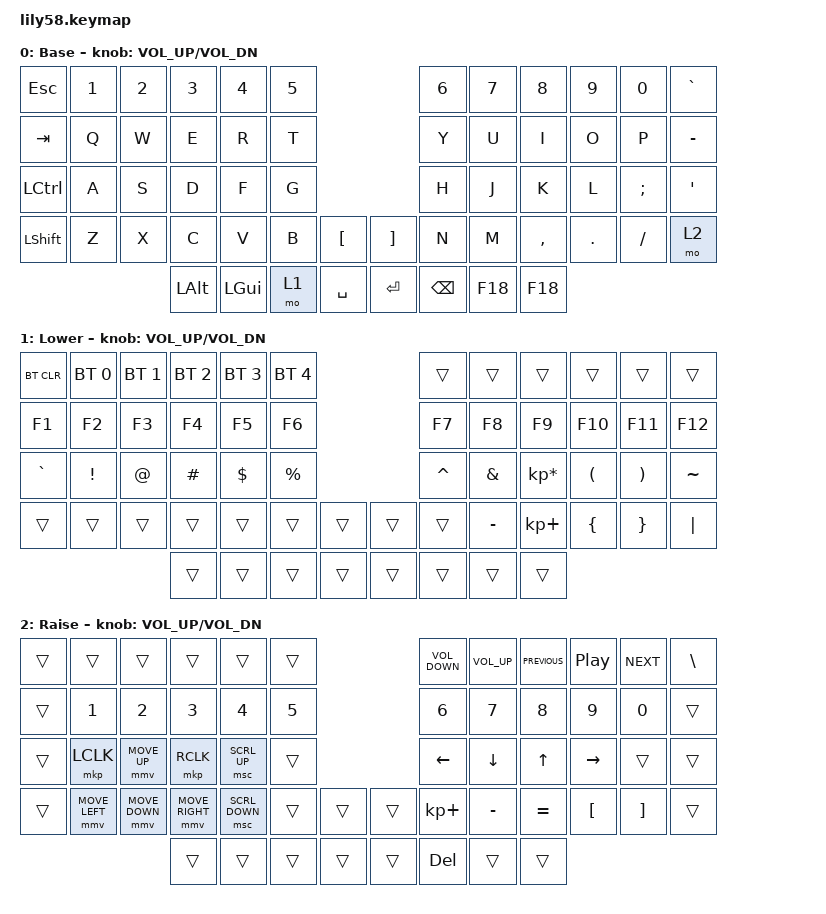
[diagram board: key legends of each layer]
/*
 * Copyright (c) 2020 The ZMK Contributors
 *
 * SPDX-License-Identifier: MIT
 */
#define ZMK_POINTING_DEFAULT_MOVE_VAL 1800
#define ZMK_POINTING_DEFAULT_SCRL_VAL 30

#include <behaviors.dtsi>
#include <dt-bindings/zmk/bt.h>
#include <dt-bindings/zmk/keys.h>
#include <dt-bindings/zmk/pointing.h>

/ {
    keymap {
        compatible = "zmk,keymap";

        default_layer {
            // ------------------------------------------------------------------------------------------------------------
            // |  ESC  |  1  |  2  |  3   |  4   |  5   |                   |  6   |  7    |  8    |  9   |   0   |   `   |
            // |  TAB  |  Q  |  W  |  E   |  R   |  T   |                   |  Y   |  U    |  I    |  O   |   P   |   -   |
            // |  CTRL |  A  |  S  |  D   |  F   |  G   |                   |  H   |  J    |  K    |  L   |   ;   |   '   |
            // | SHIFT |  Z  |  X  |  C   |  V   |  B   |   "["  |  |  "]"  |  N   |  M    |  ,    |  .   |   /   | SHIFT |
            //                     | ALT  | GUI  | LOWER|  SPACE |  | ENTER | RAISE| BSPC  | GUI   |

            display-name = "Base";
            bindings = <
&kp ESC    &kp N1  &kp N2  &kp N3    &kp N4    &kp N5                         &kp N6         &kp N7   &kp N8     &kp N9   &kp N0    &kp GRAVE
&kp TAB    &kp Q   &kp W   &kp E     &kp R     &kp T                          &kp Y          &kp U    &kp I      &kp O    &kp P     &kp MINUS
&kp LCTRL  &kp A   &kp S   &kp D     &kp F     &kp G                          &kp H          &kp J    &kp K      &kp L    &kp SEMI  &kp SQT
&kp LSHFT  &kp Z   &kp X   &kp C     &kp V     &kp B   &kp LBKT     &kp RBKT  &kp N          &kp M    &kp COMMA  &kp DOT  &kp FSLH  &mo 2
                           &kp LALT  &kp LGUI  &mo 1   &kp SPACE    &kp RET   &kp BACKSPACE  &kp F18  &kp F18
            >;

            sensor-bindings = <&inc_dec_kp C_VOL_UP C_VOL_DN>;
        };

        lower_layer {
            // ------------------------------------------------------------------------------------------------------------
            // | BTCLR | BT1 | BT2 |  BT3 |  BT4 |  BT5 |                   |      |       |       |      |       |       |
            // |  F1   |  F2 |  F3 |  F4  |  F5  |  F6  |                   |  F7  |  F8   |  F9   |  F10 |  F11  |  F12  |
            // |   `   |  !  |  @  |  #   |  $   |  %   |                   |  ^   |  &    |  *    |  (   |   )   |   ~   |
            // |       |     |     |      |      |      |        |  |       |      |  _    |  +    |  {   |   }   |  "|"  |
            //                     |      |      |      |        |  |       |      |       |       |

            display-name = "Lower";
            bindings = <
&bt BT_CLR  &bt BT_SEL 0  &bt BT_SEL 1  &bt BT_SEL 2  &bt BT_SEL 3  &bt BT_SEL 4                    &trans     &trans     &trans           &trans    &trans    &trans
&kp F1      &kp F2        &kp F3        &kp F4        &kp F5        &kp F6                          &kp F7     &kp F8     &kp F9           &kp F10   &kp F11   &kp F12
&kp GRAVE   &kp EXCL      &kp AT        &kp HASH      &kp DOLLAR    &kp PRCNT                       &kp CARET  &kp AMPS   &kp KP_MULTIPLY  &kp LPAR  &kp RPAR  &kp TILDE
&trans      &trans        &trans        &trans        &trans        &trans        &trans    &trans  &trans     &kp MINUS  &kp KP_PLUS      &kp LBRC  &kp RBRC  &kp PIPE
                                        &trans        &trans        &trans        &trans    &trans  &trans     &trans     &trans
            >;

            sensor-bindings = <&inc_dec_kp C_VOL_UP C_VOL_DN>;
        };

        raise_layer {
            // ------------------------------------------------------------------------------------------------------------
            // |       |     |     |      |      |      |                   |      |       |       |      |       |       |
            // |   `   |  1  |  2  |  3   |  4   |  5   |                   |  6   |   7   |   8   |  9   |   0   |       |
            // |   F1  |  F2 |  F3 |  F4  |  F5  |  F6  |                   |      |   <-  |   v   |  ^   |  ->   |       |
            // |   F7  |  F8 |  F9 |  F10 |  F11 |  F12 |        |  |       |  +   |   -   |   =   |  [   |   ]   |   \   |
            //                     |      |      |      |        |  |       |      |       |       |

            display-name = "Raise";
            bindings = <
&trans  &trans          &trans          &trans           &trans          &trans                    &kp C_VOLUME_DOWN  &kp C_VOLUME_UP  &kp C_PREVIOUS  &kp C_PLAY_PAUSE  &kp C_NEXT  &kp BACKSLASH
&trans  &kp N1          &kp N2          &kp N3           &kp N4          &kp N5                    &kp N6             &kp N7           &kp N8          &kp N9            &kp N0      &trans
&trans  &mkp LCLK       &mmv MOVE_UP    &mkp RCLK        &msc SCRL_UP    &trans                    &kp LEFT           &kp DOWN         &kp UP_ARROW    &kp RIGHT         &trans      &trans
&trans  &mmv MOVE_LEFT  &mmv MOVE_DOWN  &mmv MOVE_RIGHT  &msc SCRL_DOWN  &trans  &trans    &trans  &kp KP_PLUS        &kp MINUS        &kp EQUAL       &kp LBKT          &kp RBKT    &trans
                                        &trans           &trans          &trans  &trans    &trans  &kp DELETE         &trans           &trans
            >;

            sensor-bindings = <&inc_dec_kp C_VOL_UP C_VOL_DN>;
        };

        extra_1 { status = "reserved"; };

        extra_2 { status = "reserved"; };

        extra_3 { status = "reserved"; };
    };
};
